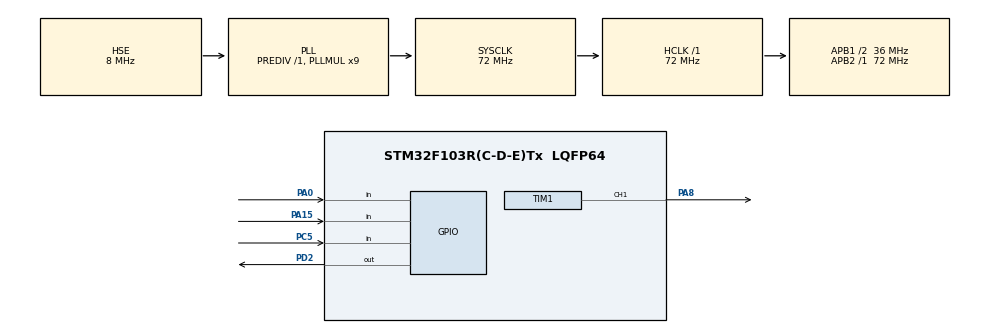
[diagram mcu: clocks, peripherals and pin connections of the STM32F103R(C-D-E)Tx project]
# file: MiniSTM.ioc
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Mcu.Family=STM32F1
Mcu.Name=STM32F103R(C-D-E)Tx
Mcu.Package=LQFP64
NVIC.PriorityGroup=NVIC_PRIORITYGROUP_4
PA0-WKUP.GPIO_PuPd=GPIO_PULLDOWN
PA0-WKUP.Signal=GPIO_Input
PA13.Mode=Serial_Wire
PA13.Signal=SYS_JTMS-SWDIO
PA14.Mode=Serial_Wire
PA14.Signal=SYS_JTCK-SWCLK
PA15.GPIO_PuPd=GPIO_PULLUP
PA15.Signal=GPIO_Input
PA8.GPIO_Speed=GPIO_SPEED_FREQ_HIGH
PA8.Signal=S_TIM1_CH1
PC14-OSC32_IN.Mode=LSE-External-Oscillator
PC14-OSC32_IN.Signal=RCC_OSC32_IN
PC15-OSC32_OUT.Mode=LSE-External-Oscillator
PC15-OSC32_OUT.Signal=RCC_OSC32_OUT
PC5.GPIO_PuPd=GPIO_PULLUP
PC5.Signal=GPIO_Input
PD0-OSC_IN.Mode=HSE-External-Oscillator
PD0-OSC_IN.Signal=RCC_OSC_IN
PD1-OSC_OUT.Mode=HSE-External-Oscillator
PD1-OSC_OUT.Signal=RCC_OSC_OUT
PD2.GPIO_PuPd=GPIO_PULLUP
PD2.PinState=GPIO_PIN_SET
PD2.Signal=GPIO_Output
ProjectManager.HeapSize=0x200
ProjectManager.StackSize=0x400
ProjectManager.TargetToolchain=MDK-ARM V5.32
RCC.AHBFreq_Value=72000000
RCC.APB1CLKDivider=RCC_HCLK_DIV2
RCC.APB1Freq_Value=36000000
RCC.APB1TimFreq_Value=72000000
RCC.APB2Freq_Value=72000000
RCC.APB2TimFreq_Value=72000000
RCC.HCLKFreq_Value=72000000
RCC.PLLMUL=RCC_PLL_MUL9
RCC.PLLSourceVirtual=RCC_PLLSOURCE_HSE
RCC.SYSCLKFreq_VALUE=72000000
RCC.SYSCLKSource=RCC_SYSCLKSOURCE_PLLCLK
RCC.USBFreq_Value=72000000
SH.S_TIM1_CH1.0=TIM1_CH1,PWM Generation1 CH1
TIM1.AutoReloadPreload=TIM_AUTORELOAD_PRELOAD_ENABLE
TIM1.Channel-PWM\ Generation1\ CH1=TIM_CHANNEL_1
TIM1.OCPolarity_1=TIM_OCPOLARITY_LOW
TIM1.Period=899
TIM1.Pulse-PWM\ Generation1\ CH1=899/2
VP_TIM1_VS_ClockSourceITR.Mode=TriggerSource_ITR0
board=custom

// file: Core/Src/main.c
/* USER CODE BEGIN Header */
/**
  ******************************************************************************
  * @file           : main.c
  * @brief          : Main program body
  ******************************************************************************
  * @attention
  *
  * Copyright (c) 2022 STMicroelectronics.
  * All rights reserved.
  *
  * This software is licensed under terms that can be found in the LICENSE file
  * in the root directory of this software component.
  * If no LICENSE file comes with this software, it is provided AS-IS.
  *
  ******************************************************************************
  */
/* USER CODE END Header */
#include "main.h"
#include "tim.h"
#include "gpio.h"

/* USER CODE BEGIN Includes */
#include "led.h"
#include "key.h"
#include "pwm.h"
/* USER CODE END Includes */

void SystemClock_Config(void);

int main(void)
{
  /* USER CODE BEGIN 1 */
	uint16_t led0pwmval = 0;
	uint8_t dir = 1;
  /* USER CODE END 1 */

  /* MCU Configuration--------------------------------------------------------*/

  /* Reset of all peripherals, Initializes the Flash interface and the Systick. */
  HAL_Init();

  /* Configure the system clock */
  SystemClock_Config();

  /* Initialize all configured peripherals */
  MX_GPIO_Init();
  MX_TIM1_Init();
  /* USER CODE BEGIN 2 */
  HAL_TIM_PWM_Start(&htim1, TIM_CHANNEL_1); // Start the PWM timer
  /* USER CODE END 2 */

  /* Infinite loop */
  /* USER CODE BEGIN WHILE */
  while (1)
  {
    HAL_Delay(10); // Delay 10ms
    if (dir)       // If direction is 1, increment the PWM value
      led0pwmval++;
    else // If direction is 0, decrement the PWM value
      led0pwmval--;
    if (led0pwmval > 300) // If PWM value is greater than 300, set direction to 0
      dir = 0;
    if (led0pwmval == 0) // If PWM value is 0, set direction to 1
      dir = 1;
    __HAL_TIM_SetCompare(&htim1, TIM_CHANNEL_1, led0pwmval); // Set the PWM value
    /* USER CODE END WHILE */

  }
}

void SystemClock_Config(void)
{
  RCC_OscInitTypeDef RCC_OscInitStruct = {0};
  RCC_ClkInitTypeDef RCC_ClkInitStruct = {0};

  /** Initializes the RCC Oscillators according to the specified parameters
  * in the RCC_OscInitTypeDef structure.
  */
  RCC_OscInitStruct.OscillatorType = RCC_OSCILLATORTYPE_HSE;
  RCC_OscInitStruct.HSEState = RCC_HSE_ON;
  RCC_OscInitStruct.HSEPredivValue = RCC_HSE_PREDIV_DIV1;
  RCC_OscInitStruct.HSIState = RCC_HSI_ON;
  RCC_OscInitStruct.PLL.PLLState = RCC_PLL_ON;
  RCC_OscInitStruct.PLL.PLLSource = RCC_PLLSOURCE_HSE;
  RCC_OscInitStruct.PLL.PLLMUL = RCC_PLL_MUL9;
  if (HAL_RCC_OscConfig(&RCC_OscInitStruct) != HAL_OK)
  {
    Error_Handler();
  }

  /** Initializes the CPU, AHB and APB buses clocks
  */
  RCC_ClkInitStruct.ClockType = RCC_CLOCKTYPE_HCLK|RCC_CLOCKTYPE_SYSCLK
                              |RCC_CLOCKTYPE_PCLK1|RCC_CLOCKTYPE_PCLK2;
  RCC_ClkInitStruct.SYSCLKSource = RCC_SYSCLKSOURCE_PLLCLK;
  RCC_ClkInitStruct.AHBCLKDivider = RCC_SYSCLK_DIV1;
  RCC_ClkInitStruct.APB1CLKDivider = RCC_HCLK_DIV2;
  RCC_ClkInitStruct.APB2CLKDivider = RCC_HCLK_DIV1;

  if (HAL_RCC_ClockConfig(&RCC_ClkInitStruct, FLASH_LATENCY_2) != HAL_OK)
  {
    Error_Handler();
  }
}

void Error_Handler(void)
{
  __disable_irq();
  while (1)
  {
  }
}
